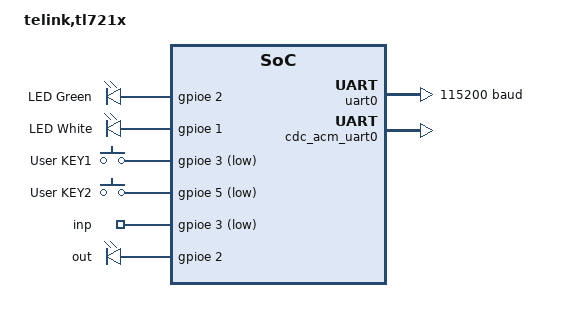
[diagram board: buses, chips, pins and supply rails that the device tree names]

/ {
	model = "telink,tl721x";
	compatible = "telink,tl7218x";
    
	chosen {
		zephyr,console = &cdc_acm_uart0;
		zephyr,shell-uart = &cdc_acm_uart0;
	};

    aliases {
        /delete-property/ mcuboot-button0;
    };

    leds {
        compatible = "gpio-leds";

		led_green: led_1 {
            gpios = <&gpioe 2 GPIO_ACTIVE_HIGH>;
            label = "LED Green";
        };

        led_white: led_2 {
            gpios = <&gpioe 1 GPIO_ACTIVE_HIGH>;
            label = "LED White";
        };
    };

    keys {
        compatible = "gpio-keys";

        key_1: button_1 {
            label = "User KEY1";
            gpios = <&gpioe 3 (GPIO_ACTIVE_LOW | GPIO_PULL_UP)>;
        };

        key_2: button_2 {
            label = "User KEY2";
            gpios = <&gpioe 5 (GPIO_ACTIVE_LOW | GPIO_PULL_UP)>;
        };
    };

	key_pool {
		compatible = "gpio-keys";

		inp {
			gpios = <&gpioe 3 (GPIO_ACTIVE_LOW | GPIO_PULL_UP)>,
				<&gpioe 5 (GPIO_ACTIVE_LOW | GPIO_PULL_UP)>;
		};
	};

    led_pool {
		compatible = "gpio-leds";

		out {
			gpios = <&gpioe 2 GPIO_ACTIVE_HIGH>,
                    <&gpioe 1 GPIO_ACTIVE_HIGH>;
		};
	};

    /delete-node/ pwm_pool;

};


&gpioe {
	interrupts = <39 1>;
	status = "okay";
};

&uart0 {
	status = "okay";
	current-speed = <115200>;
	pinctrl-0 = <&uart0_tx_pb6_default &uart0_rx_pb7_default>;
	pinctrl-names = "default";
};

/* Disable LSPI in overlay */
&lspi {
    status = "disabled";
};

&pinctrl {
	/* Set pad-mul-sel register value.
	 * Note: Pins functions below (pinmux = <...>) depend on this value.
	 */
	pad-mul-sel = <1>;

	/* UART0: TX(PB6), RX(PB7) */

	uart0_tx_pb6_default: uart0_tx_pb6_default {
		pinmux = <TLX_PINMUX_SET(TLX_PORT_B, TLX_PIN_6,
			(TL721X_FUNC_UART0_TX | TL721X_PULL_UP))>;
	};
	uart0_rx_pb7_default: uart0_rx_pb7_default {
		pinmux = <TLX_PINMUX_SET(TLX_PORT_B, TLX_PIN_7,
			(TL721X_FUNC_UART0_RTX_IO | TL721X_PULL_UP))>;
	};

};

/* USB configuration (Disable it if need full logging) */
&zephyr_udc0 {
	cdc_acm_uart0: cdc_acm_uart0 {
		compatible = "zephyr,cdc-acm-uart";
	};
};
